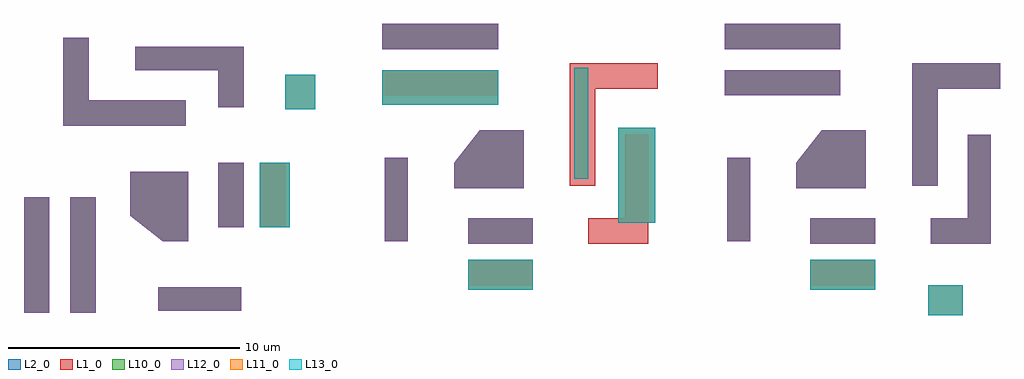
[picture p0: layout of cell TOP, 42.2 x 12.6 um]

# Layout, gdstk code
from math import pi, radians
import gdstk
lib = gdstk.Library(unit=1e-6, precision=1e-09)
def R(c, l, rs):  # rectangles x0, y0, x1, y1
    for r in rs: c.add(gdstk.rectangle(r[:2], r[2:], *l))
def P(c, l, *ps):  # polygons
    for p in ps: c.add(gdstk.Polygon(p, *l))
L1_0 = (1, 0)
L2_0 = (2, 0)
L10_0 = (10, 0)
L11_0 = (11, 0)
L12_0 = (12, 0)
L13_0 = (13, 0)
L20_0 = (20, 0)
L21_0 = (21, 0)
L22_0 = (22, 0)
L23_0 = (23, 0)

c_a = lib.new_cell('A')
R(c_a, L1_0, [(4.5,0.8,7.3,1.9), (4.5,2.6,7.3,3.7), (9.7,2.6,12.3,3.7), (0.9,2.7,1.9,6.3), (11.3,3.7,12.3,7.3), (0.8,9,5.8,10.1), (0.8,11,2.8,12.1), (2.8,11,5.8,12.1)])
P(c_a, L1_0, [(3.9,5),(3.9,6.1),(5,7.5),(6.9,7.5),(6.9,5)],
  [(8.9,5.1),(8.9,10.4),(12.7,10.4),(12.7,9.3),(10,9.3),(10,5.1)])
R(c_a, L2_0, [(4.5,0.6,7.3,1.9), (4.5,2.6,7.3,3.7), (0.9,2.7,1.9,4.5), (0.9,4.5,1.9,6.3)])
P(c_a, L2_0, [(3.9,5),(3.9,6.1),(5,7.5),(6.9,7.5),(6.9,5)])
R(c_a, L10_0, [(4.5,2.6,7.3,3.7), (0.9,2.7,1.9,6.3)])
P(c_a, L10_0, [(3.9,5),(3.9,6.1),(5,7.5),(6.9,7.5),(6.9,5)])
R(c_a, L11_0, [(4.5,0.6,7.3,1.9)])
R(c_a, L12_0, [(4.5,2.6,7.3,3.7), (0.9,2.7,1.9,6.3)])
P(c_a, L12_0, [(3.9,5),(3.9,6.1),(5,7.5),(6.9,7.5),(6.9,5)])
R(c_a, L13_0, [(4.5,0.6,7.3,1.9)])
c_a.add(gdstk.FlexPath([(3.9,5),(3.9,6.1)], 0, ends="flush", simple_path=True, layer=20, datatype=0))  # L20_0
c_a.add(gdstk.FlexPath([(6.9,7.5),(6.9,5)], 0, ends="flush", simple_path=True, layer=20, datatype=0))  # L20_0
c_a.add(gdstk.FlexPath([(1.9,2.7),(0.9,2.7)], 0, ends="flush", simple_path=True, layer=20, datatype=0))  # L20_0
c_a.add(gdstk.FlexPath([(3.9,6.1),(5,7.5)], 0, ends="flush", simple_path=True, layer=20, datatype=0))  # L20_0
c_a.add(gdstk.FlexPath([(6.9,5),(3.9,5)], 0, ends="flush", simple_path=True, layer=20, datatype=0))  # L20_0
c_a.add(gdstk.FlexPath([(1.9,6.3),(1.9,2.7)], 0, ends="flush", simple_path=True, layer=20, datatype=0))  # L20_0
c_a.add(gdstk.FlexPath([(7.3,2.6),(4.5,2.6)], 0, ends="flush", simple_path=True, layer=20, datatype=0))  # L20_0
c_a.add(gdstk.FlexPath([(0.9,2.7),(0.9,6.3)], 0, ends="flush", simple_path=True, layer=20, datatype=0))  # L20_0
c_a.add(gdstk.FlexPath([(5,7.5),(6.9,7.5)], 0, ends="flush", simple_path=True, layer=20, datatype=0))  # L20_0
c_a.add(gdstk.FlexPath([(4.5,3.7),(7.3,3.7)], 0, ends="flush", simple_path=True, layer=20, datatype=0))  # L20_0
c_a.add(gdstk.FlexPath([(4.5,1.9),(7.3,1.9)], 0, ends="flush", simple_path=True, layer=20, datatype=0))  # L20_0
c_a.add(gdstk.FlexPath([(0.9,6.3),(1.9,6.3)], 0, ends="flush", simple_path=True, layer=20, datatype=0))  # L20_0
c_a.add(gdstk.FlexPath([(4.5,2.6),(4.5,3.7)], 0, ends="flush", simple_path=True, layer=20, datatype=0))  # L20_0
c_a.add(gdstk.FlexPath([(7.3,3.7),(7.3,2.6)], 0, ends="flush", simple_path=True, layer=20, datatype=0))  # L20_0
c_a.add(gdstk.FlexPath([(4.5,0.6),(4.5,1.9)], 0, ends="flush", simple_path=True, layer=21, datatype=0))  # L21_0
c_a.add(gdstk.FlexPath([(7.3,0.6),(4.5,0.6)], 0, ends="flush", simple_path=True, layer=21, datatype=0))  # L21_0
c_a.add(gdstk.FlexPath([(7.3,1.9),(7.3,0.6)], 0, ends="flush", simple_path=True, layer=21, datatype=0))  # L21_0
c_a.add(gdstk.FlexPath([(3.9,5),(3.9,6.1)], 0, ends="flush", simple_path=True, layer=22, datatype=0))  # L22_0
c_a.add(gdstk.FlexPath([(6.9,7.5),(6.9,5)], 0, ends="flush", simple_path=True, layer=22, datatype=0))  # L22_0
c_a.add(gdstk.FlexPath([(1.9,2.7),(0.9,2.7)], 0, ends="flush", simple_path=True, layer=22, datatype=0))  # L22_0
c_a.add(gdstk.FlexPath([(3.9,6.1),(5,7.5)], 0, ends="flush", simple_path=True, layer=22, datatype=0))  # L22_0
c_a.add(gdstk.FlexPath([(6.9,5),(3.9,5)], 0, ends="flush", simple_path=True, layer=22, datatype=0))  # L22_0
c_a.add(gdstk.FlexPath([(1.9,6.3),(1.9,2.7)], 0, ends="flush", simple_path=True, layer=22, datatype=0))  # L22_0
c_a.add(gdstk.FlexPath([(7.3,2.6),(4.5,2.6)], 0, ends="flush", simple_path=True, layer=22, datatype=0))  # L22_0
c_a.add(gdstk.FlexPath([(0.9,2.7),(0.9,6.3)], 0, ends="flush", simple_path=True, layer=22, datatype=0))  # L22_0
c_a.add(gdstk.FlexPath([(5,7.5),(6.9,7.5)], 0, ends="flush", simple_path=True, layer=22, datatype=0))  # L22_0
c_a.add(gdstk.FlexPath([(4.5,3.7),(7.3,3.7)], 0, ends="flush", simple_path=True, layer=22, datatype=0))  # L22_0
c_a.add(gdstk.FlexPath([(4.5,1.9),(7.3,1.9)], 0, ends="flush", simple_path=True, layer=22, datatype=0))  # L22_0
c_a.add(gdstk.FlexPath([(0.9,6.3),(1.9,6.3)], 0, ends="flush", simple_path=True, layer=22, datatype=0))  # L22_0
c_a.add(gdstk.FlexPath([(4.5,2.6),(4.5,3.7)], 0, ends="flush", simple_path=True, layer=22, datatype=0))  # L22_0
c_a.add(gdstk.FlexPath([(7.3,3.7),(7.3,2.6)], 0, ends="flush", simple_path=True, layer=22, datatype=0))  # L22_0
c_a.add(gdstk.FlexPath([(4.5,0.6),(4.5,1.9)], 0, ends="flush", simple_path=True, layer=23, datatype=0))  # L23_0
c_a.add(gdstk.FlexPath([(7.3,0.6),(4.5,0.6)], 0, ends="flush", simple_path=True, layer=23, datatype=0))  # L23_0
c_a.add(gdstk.FlexPath([(7.3,1.9),(7.3,0.6)], 0, ends="flush", simple_path=True, layer=23, datatype=0))  # L23_0

c_b = lib.new_cell('B')
R(c_b, L2_0, [(0,0,1.1,5), (2,0,3.1,5), (11.3,8.8,12.6,10.3)])
P(c_b, L2_0, [(8.4,8.9),(8.4,10.5),(4.8,10.5),(4.8,11.5),(9.5,11.5),(9.5,8.9)],
  [(1.7,8.1),(1.7,11.9),(2.8,11.9),(2.8,9.2),(7,9.2),(7,8.1)])
R(c_b, L10_0, [(0,0,1.1,5), (2,0,3.1,5)])
P(c_b, L10_0, [(8.4,8.9),(8.4,10.5),(4.8,10.5),(4.8,11.5),(9.5,11.5),(9.5,8.9)],
  [(1.7,8.1),(1.7,11.9),(2.8,11.9),(2.8,9.2),(7,9.2),(7,8.1)])
R(c_b, L11_0, [(11.3,8.8,12.6,10.3)])
R(c_b, L12_0, [(0,0,1.1,5), (2,0,3.1,5)])
P(c_b, L12_0, [(8.4,8.9),(8.4,10.5),(4.8,10.5),(4.8,11.5),(9.5,11.5),(9.5,8.9)],
  [(1.7,8.1),(1.7,11.9),(2.8,11.9),(2.8,9.2),(7,9.2),(7,8.1)])
R(c_b, L13_0, [(11.3,8.8,12.6,10.3)])
c_b.add(gdstk.FlexPath([(2,0),(2,5)], 0, ends="flush", simple_path=True, layer=20, datatype=0))  # L20_0
c_b.add(gdstk.FlexPath([(1.7,11.9),(2.8,11.9)], 0, ends="flush", simple_path=True, layer=20, datatype=0))  # L20_0
c_b.add(gdstk.FlexPath([(7,8.1),(1.7,8.1)], 0, ends="flush", simple_path=True, layer=20, datatype=0))  # L20_0
c_b.add(gdstk.FlexPath([(4.8,10.5),(4.8,11.5)], 0, ends="flush", simple_path=True, layer=20, datatype=0))  # L20_0
c_b.add(gdstk.FlexPath([(7,9.2),(7,8.1)], 0, ends="flush", simple_path=True, layer=20, datatype=0))  # L20_0
c_b.add(gdstk.FlexPath([(2.8,11.9),(2.8,9.2)], 0, ends="flush", simple_path=True, layer=20, datatype=0))  # L20_0
c_b.add(gdstk.FlexPath([(9.5,8.9),(8.4,8.9)], 0, ends="flush", simple_path=True, layer=20, datatype=0))  # L20_0
c_b.add(gdstk.FlexPath([(1.7,8.1),(1.7,11.9)], 0, ends="flush", simple_path=True, layer=20, datatype=0))  # L20_0
c_b.add(gdstk.FlexPath([(1.1,5),(1.1,0)], 0, ends="flush", simple_path=True, layer=20, datatype=0))  # L20_0
c_b.add(gdstk.FlexPath([(8.4,8.9),(8.4,10.5)], 0, ends="flush", simple_path=True, layer=20, datatype=0))  # L20_0
c_b.add(gdstk.FlexPath([(1.1,0),(0,0)], 0, ends="flush", simple_path=True, layer=20, datatype=0))  # L20_0
c_b.add(gdstk.FlexPath([(0,5),(1.1,5)], 0, ends="flush", simple_path=True, layer=20, datatype=0))  # L20_0
c_b.add(gdstk.FlexPath([(0,0),(0,5)], 0, ends="flush", simple_path=True, layer=20, datatype=0))  # L20_0
c_b.add(gdstk.FlexPath([(3.1,5),(3.1,0)], 0, ends="flush", simple_path=True, layer=20, datatype=0))  # L20_0
c_b.add(gdstk.FlexPath([(3.1,0),(2,0)], 0, ends="flush", simple_path=True, layer=20, datatype=0))  # L20_0
c_b.add(gdstk.FlexPath([(4.8,11.5),(9.5,11.5)], 0, ends="flush", simple_path=True, layer=20, datatype=0))  # L20_0
c_b.add(gdstk.FlexPath([(8.4,10.5),(4.8,10.5)], 0, ends="flush", simple_path=True, layer=20, datatype=0))  # L20_0
c_b.add(gdstk.FlexPath([(9.5,11.5),(9.5,8.9)], 0, ends="flush", simple_path=True, layer=20, datatype=0))  # L20_0
c_b.add(gdstk.FlexPath([(2,5),(3.1,5)], 0, ends="flush", simple_path=True, layer=20, datatype=0))  # L20_0
c_b.add(gdstk.FlexPath([(2.8,9.2),(7,9.2)], 0, ends="flush", simple_path=True, layer=20, datatype=0))  # L20_0
c_b.add(gdstk.FlexPath([(12.6,8.8),(11.3,8.8)], 0, ends="flush", simple_path=True, layer=21, datatype=0))  # L21_0
c_b.add(gdstk.FlexPath([(11.3,8.8),(11.3,10.3)], 0, ends="flush", simple_path=True, layer=21, datatype=0))  # L21_0
c_b.add(gdstk.FlexPath([(12.6,10.3),(12.6,8.8)], 0, ends="flush", simple_path=True, layer=21, datatype=0))  # L21_0
c_b.add(gdstk.FlexPath([(11.3,10.3),(12.6,10.3)], 0, ends="flush", simple_path=True, layer=21, datatype=0))  # L21_0
c_b.add(gdstk.FlexPath([(2,0),(2,5)], 0, ends="flush", simple_path=True, layer=22, datatype=0))  # L22_0
c_b.add(gdstk.FlexPath([(1.7,11.9),(2.8,11.9)], 0, ends="flush", simple_path=True, layer=22, datatype=0))  # L22_0
c_b.add(gdstk.FlexPath([(7,8.1),(1.7,8.1)], 0, ends="flush", simple_path=True, layer=22, datatype=0))  # L22_0
c_b.add(gdstk.FlexPath([(4.8,10.5),(4.8,11.5)], 0, ends="flush", simple_path=True, layer=22, datatype=0))  # L22_0
c_b.add(gdstk.FlexPath([(7,9.2),(7,8.1)], 0, ends="flush", simple_path=True, layer=22, datatype=0))  # L22_0
c_b.add(gdstk.FlexPath([(2.8,11.9),(2.8,9.2)], 0, ends="flush", simple_path=True, layer=22, datatype=0))  # L22_0
c_b.add(gdstk.FlexPath([(9.5,8.9),(8.4,8.9)], 0, ends="flush", simple_path=True, layer=22, datatype=0))  # L22_0
c_b.add(gdstk.FlexPath([(1.7,8.1),(1.7,11.9)], 0, ends="flush", simple_path=True, layer=22, datatype=0))  # L22_0
c_b.add(gdstk.FlexPath([(1.1,5),(1.1,0)], 0, ends="flush", simple_path=True, layer=22, datatype=0))  # L22_0
c_b.add(gdstk.FlexPath([(8.4,8.9),(8.4,10.5)], 0, ends="flush", simple_path=True, layer=22, datatype=0))  # L22_0
c_b.add(gdstk.FlexPath([(1.1,0),(0,0)], 0, ends="flush", simple_path=True, layer=22, datatype=0))  # L22_0
c_b.add(gdstk.FlexPath([(0,5),(1.1,5)], 0, ends="flush", simple_path=True, layer=22, datatype=0))  # L22_0
c_b.add(gdstk.FlexPath([(0,0),(0,5)], 0, ends="flush", simple_path=True, layer=22, datatype=0))  # L22_0
c_b.add(gdstk.FlexPath([(3.1,5),(3.1,0)], 0, ends="flush", simple_path=True, layer=22, datatype=0))  # L22_0
c_b.add(gdstk.FlexPath([(3.1,0),(2,0)], 0, ends="flush", simple_path=True, layer=22, datatype=0))  # L22_0
c_b.add(gdstk.FlexPath([(2,5),(3.1,5)], 0, ends="flush", simple_path=True, layer=22, datatype=0))  # L22_0
c_b.add(gdstk.FlexPath([(4.8,11.5),(9.5,11.5)], 0, ends="flush", simple_path=True, layer=22, datatype=0))  # L22_0
c_b.add(gdstk.FlexPath([(8.4,10.5),(4.8,10.5)], 0, ends="flush", simple_path=True, layer=22, datatype=0))  # L22_0
c_b.add(gdstk.FlexPath([(9.5,11.5),(9.5,8.9)], 0, ends="flush", simple_path=True, layer=22, datatype=0))  # L22_0
c_b.add(gdstk.FlexPath([(2.8,9.2),(7,9.2)], 0, ends="flush", simple_path=True, layer=22, datatype=0))  # L22_0
c_b.add(gdstk.FlexPath([(12.6,8.8),(11.3,8.8)], 0, ends="flush", simple_path=True, layer=23, datatype=0))  # L23_0
c_b.add(gdstk.FlexPath([(11.3,8.8),(11.3,10.3)], 0, ends="flush", simple_path=True, layer=23, datatype=0))  # L23_0
c_b.add(gdstk.FlexPath([(12.6,10.3),(12.6,8.8)], 0, ends="flush", simple_path=True, layer=23, datatype=0))  # L23_0
c_b.add(gdstk.FlexPath([(11.3,10.3),(12.6,10.3)], 0, ends="flush", simple_path=True, layer=23, datatype=0))  # L23_0

top = lib.new_cell('TOP')
R(top, L2_0, [(1.1,1.2,2.2,6.2), (3.1,1.2,4.2,6.2), (26.8,5.1,28.4,9.2), (24.9,7,25.5,11.8), (12.4,10,13.7,11.5), (16.6,10.2,21.6,11.7), (16.6,12.6,21.6,13.7)])
P(top, L2_0, [(9.5,10.1),(9.5,11.7),(5.9,11.7),(5.9,12.7),(10.6,12.7),(10.6,10.1)],
  [(2.8,9.3),(2.8,13.1),(3.9,13.1),(3.9,10.4),(8.1,10.4),(8.1,9.3)])
R(top, L10_0, [(1.1,1.2,2.2,6.2), (3.1,1.2,4.2,6.2), (16.6,12.6,21.6,13.7)])
P(top, L10_0, [(9.5,10.1),(9.5,11.7),(5.9,11.7),(5.9,12.7),(10.6,12.7),(10.6,10.1)],
  [(2.8,9.3),(2.8,13.1),(3.9,13.1),(3.9,10.4),(8.1,10.4),(8.1,9.3)])
R(top, L11_0, [(26.8,5.1,28.4,9.2), (24.9,7,25.5,11.8), (12.4,10,13.7,11.5), (16.6,10.2,21.6,11.7)])
R(top, L12_0, [(1.1,1.2,2.2,6.2), (3.1,1.2,4.2,6.2), (16.6,12.6,21.6,13.7)])
P(top, L12_0, [(9.5,10.1),(9.5,11.7),(5.9,11.7),(5.9,12.7),(10.6,12.7),(10.6,10.1)],
  [(2.8,9.3),(2.8,13.1),(3.9,13.1),(3.9,10.4),(8.1,10.4),(8.1,9.3)])
R(top, L13_0, [(26.8,5.1,28.4,9.2), (24.9,7,25.5,11.8), (12.4,10,13.7,11.5), (16.6,10.2,21.6,11.7)])
top.add(gdstk.FlexPath([(1.1,1.2),(1.1,6.2)], 0, ends="flush", simple_path=True, layer=20, datatype=0))  # L20_0
top.add(gdstk.FlexPath([(3.9,10.4),(8.1,10.4)], 0, ends="flush", simple_path=True, layer=20, datatype=0))  # L20_0
top.add(gdstk.FlexPath([(2.8,13.1),(3.9,13.1)], 0, ends="flush", simple_path=True, layer=20, datatype=0))  # L20_0
top.add(gdstk.FlexPath([(4.2,1.2),(3.1,1.2)], 0, ends="flush", simple_path=True, layer=20, datatype=0))  # L20_0
top.add(gdstk.FlexPath([(10.6,10.1),(9.5,10.1)], 0, ends="flush", simple_path=True, layer=20, datatype=0))  # L20_0
top.add(gdstk.FlexPath([(3.1,1.2),(3.1,6.2)], 0, ends="flush", simple_path=True, layer=20, datatype=0))  # L20_0
top.add(gdstk.FlexPath([(2.8,9.3),(2.8,13.1)], 0, ends="flush", simple_path=True, layer=20, datatype=0))  # L20_0
top.add(gdstk.FlexPath([(9.5,10.1),(9.5,11.7)], 0, ends="flush", simple_path=True, layer=20, datatype=0))  # L20_0
top.add(gdstk.FlexPath([(1.1,6.2),(2.2,6.2)], 0, ends="flush", simple_path=True, layer=20, datatype=0))  # L20_0
top.add(gdstk.FlexPath([(16.6,12.6),(16.6,13.7)], 0, ends="flush", simple_path=True, layer=20, datatype=0))  # L20_0
top.add(gdstk.FlexPath([(16.6,11.7),(21.6,11.7)], 0, ends="flush", simple_path=True, layer=20, datatype=0))  # L20_0
top.add(gdstk.FlexPath([(3.9,13.1),(3.9,10.4)], 0, ends="flush", simple_path=True, layer=20, datatype=0))  # L20_0
top.add(gdstk.FlexPath([(10.6,12.7),(10.6,10.1)], 0, ends="flush", simple_path=True, layer=20, datatype=0))  # L20_0
top.add(gdstk.FlexPath([(2.2,6.2),(2.2,1.2)], 0, ends="flush", simple_path=True, layer=20, datatype=0))  # L20_0
top.add(gdstk.FlexPath([(8.1,10.4),(8.1,9.3)], 0, ends="flush", simple_path=True, layer=20, datatype=0))  # L20_0
top.add(gdstk.FlexPath([(21.6,13.7),(21.6,12.6)], 0, ends="flush", simple_path=True, layer=20, datatype=0))  # L20_0
top.add(gdstk.FlexPath([(5.9,12.7),(10.6,12.7)], 0, ends="flush", simple_path=True, layer=20, datatype=0))  # L20_0
top.add(gdstk.FlexPath([(16.6,13.7),(21.6,13.7)], 0, ends="flush", simple_path=True, layer=20, datatype=0))  # L20_0
top.add(gdstk.FlexPath([(3.1,6.2),(4.2,6.2)], 0, ends="flush", simple_path=True, layer=20, datatype=0))  # L20_0
top.add(gdstk.FlexPath([(2.2,1.2),(1.1,1.2)], 0, ends="flush", simple_path=True, layer=20, datatype=0))  # L20_0
top.add(gdstk.FlexPath([(4.2,6.2),(4.2,1.2)], 0, ends="flush", simple_path=True, layer=20, datatype=0))  # L20_0
top.add(gdstk.FlexPath([(9.5,11.7),(5.9,11.7)], 0, ends="flush", simple_path=True, layer=20, datatype=0))  # L20_0
top.add(gdstk.FlexPath([(21.6,12.6),(16.6,12.6)], 0, ends="flush", simple_path=True, layer=20, datatype=0))  # L20_0
top.add(gdstk.FlexPath([(8.1,9.3),(2.8,9.3)], 0, ends="flush", simple_path=True, layer=20, datatype=0))  # L20_0
top.add(gdstk.FlexPath([(5.9,11.7),(5.9,12.7)], 0, ends="flush", simple_path=True, layer=20, datatype=0))  # L20_0
top.add(gdstk.FlexPath([(24.9,11.8),(25.5,11.8)], 0, ends="flush", simple_path=True, layer=21, datatype=0))  # L21_0
top.add(gdstk.FlexPath([(26.8,9.2),(28.4,9.2)], 0, ends="flush", simple_path=True, layer=21, datatype=0))  # L21_0
top.add(gdstk.FlexPath([(24.9,7),(24.9,11.8)], 0, ends="flush", simple_path=True, layer=21, datatype=0))  # L21_0
top.add(gdstk.FlexPath([(25.5,7),(24.9,7)], 0, ends="flush", simple_path=True, layer=21, datatype=0))  # L21_0
top.add(gdstk.FlexPath([(25.5,11.8),(25.5,7)], 0, ends="flush", simple_path=True, layer=21, datatype=0))  # L21_0
top.add(gdstk.FlexPath([(12.4,11.5),(13.7,11.5)], 0, ends="flush", simple_path=True, layer=21, datatype=0))  # L21_0
top.add(gdstk.FlexPath([(16.6,10.2),(16.6,11.7)], 0, ends="flush", simple_path=True, layer=21, datatype=0))  # L21_0
top.add(gdstk.FlexPath([(12.4,10),(12.4,11.5)], 0, ends="flush", simple_path=True, layer=21, datatype=0))  # L21_0
top.add(gdstk.FlexPath([(21.6,11.7),(21.6,10.2)], 0, ends="flush", simple_path=True, layer=21, datatype=0))  # L21_0
top.add(gdstk.FlexPath([(21.6,10.2),(16.6,10.2)], 0, ends="flush", simple_path=True, layer=21, datatype=0))  # L21_0
top.add(gdstk.FlexPath([(28.4,5.1),(26.8,5.1)], 0, ends="flush", simple_path=True, layer=21, datatype=0))  # L21_0
top.add(gdstk.FlexPath([(13.7,11.5),(13.7,10)], 0, ends="flush", simple_path=True, layer=21, datatype=0))  # L21_0
top.add(gdstk.FlexPath([(13.7,10),(12.4,10)], 0, ends="flush", simple_path=True, layer=21, datatype=0))  # L21_0
top.add(gdstk.FlexPath([(28.4,9.2),(28.4,5.1)], 0, ends="flush", simple_path=True, layer=21, datatype=0))  # L21_0
top.add(gdstk.FlexPath([(26.8,5.1),(26.8,9.2)], 0, ends="flush", simple_path=True, layer=21, datatype=0))  # L21_0
top.add(gdstk.FlexPath([(16.6,12.6),(16.6,13.7)], 0, ends="flush", simple_path=True, layer=22, datatype=0))  # L22_0
top.add(gdstk.FlexPath([(16.6,11.7),(21.6,11.7)], 0, ends="flush", simple_path=True, layer=22, datatype=0))  # L22_0
top.add(gdstk.FlexPath([(21.6,13.7),(21.6,12.6)], 0, ends="flush", simple_path=True, layer=22, datatype=0))  # L22_0
top.add(gdstk.FlexPath([(5.9,12.7),(10.6,12.7)], 0, ends="flush", simple_path=True, layer=22, datatype=0))  # L22_0
top.add(gdstk.FlexPath([(4.2,6.2),(4.2,1.2)], 0, ends="flush", simple_path=True, layer=22, datatype=0))  # L22_0
top.add(gdstk.FlexPath([(9.5,11.7),(5.9,11.7)], 0, ends="flush", simple_path=True, layer=22, datatype=0))  # L22_0
top.add(gdstk.FlexPath([(8.1,9.3),(2.8,9.3)], 0, ends="flush", simple_path=True, layer=22, datatype=0))  # L22_0
top.add(gdstk.FlexPath([(21.6,12.6),(16.6,12.6)], 0, ends="flush", simple_path=True, layer=22, datatype=0))  # L22_0
top.add(gdstk.FlexPath([(5.9,11.7),(5.9,12.7)], 0, ends="flush", simple_path=True, layer=22, datatype=0))  # L22_0
top.add(gdstk.FlexPath([(10.6,10.1),(9.5,10.1)], 0, ends="flush", simple_path=True, layer=22, datatype=0))  # L22_0
top.add(gdstk.FlexPath([(1.1,6.2),(2.2,6.2)], 0, ends="flush", simple_path=True, layer=22, datatype=0))  # L22_0
top.add(gdstk.FlexPath([(9.5,10.1),(9.5,11.7)], 0, ends="flush", simple_path=True, layer=22, datatype=0))  # L22_0
top.add(gdstk.FlexPath([(8.1,10.4),(8.1,9.3)], 0, ends="flush", simple_path=True, layer=22, datatype=0))  # L22_0
top.add(gdstk.FlexPath([(10.6,12.7),(10.6,10.1)], 0, ends="flush", simple_path=True, layer=22, datatype=0))  # L22_0
top.add(gdstk.FlexPath([(3.9,13.1),(3.9,10.4)], 0, ends="flush", simple_path=True, layer=22, datatype=0))  # L22_0
top.add(gdstk.FlexPath([(2.2,6.2),(2.2,1.2)], 0, ends="flush", simple_path=True, layer=22, datatype=0))  # L22_0
top.add(gdstk.FlexPath([(1.1,1.2),(1.1,6.2)], 0, ends="flush", simple_path=True, layer=22, datatype=0))  # L22_0
top.add(gdstk.FlexPath([(4.2,1.2),(3.1,1.2)], 0, ends="flush", simple_path=True, layer=22, datatype=0))  # L22_0
top.add(gdstk.FlexPath([(2.8,9.3),(2.8,13.1)], 0, ends="flush", simple_path=True, layer=22, datatype=0))  # L22_0
top.add(gdstk.FlexPath([(3.1,1.2),(3.1,6.2)], 0, ends="flush", simple_path=True, layer=22, datatype=0))  # L22_0
top.add(gdstk.FlexPath([(16.6,13.7),(21.6,13.7)], 0, ends="flush", simple_path=True, layer=22, datatype=0))  # L22_0
top.add(gdstk.FlexPath([(2.2,1.2),(1.1,1.2)], 0, ends="flush", simple_path=True, layer=22, datatype=0))  # L22_0
top.add(gdstk.FlexPath([(3.1,6.2),(4.2,6.2)], 0, ends="flush", simple_path=True, layer=22, datatype=0))  # L22_0
top.add(gdstk.FlexPath([(3.9,10.4),(8.1,10.4)], 0, ends="flush", simple_path=True, layer=22, datatype=0))  # L22_0
top.add(gdstk.FlexPath([(2.8,13.1),(3.9,13.1)], 0, ends="flush", simple_path=True, layer=22, datatype=0))  # L22_0
top.add(gdstk.FlexPath([(24.9,11.8),(25.5,11.8)], 0, ends="flush", simple_path=True, layer=23, datatype=0))  # L23_0
top.add(gdstk.FlexPath([(26.8,9.2),(28.4,9.2)], 0, ends="flush", simple_path=True, layer=23, datatype=0))  # L23_0
top.add(gdstk.FlexPath([(24.9,7),(24.9,11.8)], 0, ends="flush", simple_path=True, layer=23, datatype=0))  # L23_0
top.add(gdstk.FlexPath([(25.5,7),(24.9,7)], 0, ends="flush", simple_path=True, layer=23, datatype=0))  # L23_0
top.add(gdstk.FlexPath([(25.5,11.8),(25.5,7)], 0, ends="flush", simple_path=True, layer=23, datatype=0))  # L23_0
top.add(gdstk.FlexPath([(12.4,11.5),(13.7,11.5)], 0, ends="flush", simple_path=True, layer=23, datatype=0))  # L23_0
top.add(gdstk.FlexPath([(16.6,10.2),(16.6,11.7)], 0, ends="flush", simple_path=True, layer=23, datatype=0))  # L23_0
top.add(gdstk.FlexPath([(12.4,10),(12.4,11.5)], 0, ends="flush", simple_path=True, layer=23, datatype=0))  # L23_0
top.add(gdstk.FlexPath([(21.6,11.7),(21.6,10.2)], 0, ends="flush", simple_path=True, layer=23, datatype=0))  # L23_0
top.add(gdstk.FlexPath([(21.6,10.2),(16.6,10.2)], 0, ends="flush", simple_path=True, layer=23, datatype=0))  # L23_0
top.add(gdstk.FlexPath([(28.4,5.1),(26.8,5.1)], 0, ends="flush", simple_path=True, layer=23, datatype=0))  # L23_0
top.add(gdstk.FlexPath([(13.7,11.5),(13.7,10)], 0, ends="flush", simple_path=True, layer=23, datatype=0))  # L23_0
top.add(gdstk.FlexPath([(13.7,10),(12.4,10)], 0, ends="flush", simple_path=True, layer=23, datatype=0))  # L23_0
top.add(gdstk.FlexPath([(28.4,9.2),(28.4,5.1)], 0, ends="flush", simple_path=True, layer=23, datatype=0))  # L23_0
top.add(gdstk.FlexPath([(26.8,5.1),(26.8,9.2)], 0, ends="flush", simple_path=True, layer=23, datatype=0))  # L23_0
top.add(gdstk.Reference(c_a, (15.8,1.6)))
top.add(gdstk.Reference(c_a, (30.6,1.6)))
top.add(gdstk.Reference(c_a, (13.2,0.4), rotation=pi/2))
top.add(gdstk.Reference(c_b, (31.4,13.7), rotation=3*pi/2))

lib.write_gds('TOP.gds')
